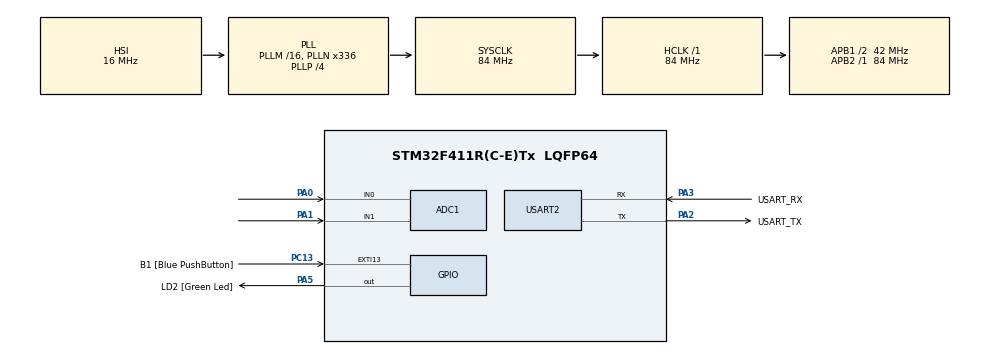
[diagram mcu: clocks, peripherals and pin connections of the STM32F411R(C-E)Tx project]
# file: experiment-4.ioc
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ADC1.Channel-0\#ChannelRegularConversion=ADC_CHANNEL_0
ADC1.Channel-1\#ChannelRegularConversion=ADC_CHANNEL_1
ADC1.ContinuousConvMode=ENABLE
ADC1.DMAContinuousRequests=ENABLE
ADC1.NbrOfConversion=2
ADC1.NbrOfConversionFlag=1
ADC1.Rank-0\#ChannelRegularConversion=1
ADC1.Rank-1\#ChannelRegularConversion=2
ADC1.SamplingTime-0\#ChannelRegularConversion=ADC_SAMPLETIME_28CYCLES
ADC1.SamplingTime-1\#ChannelRegularConversion=ADC_SAMPLETIME_28CYCLES
ADC1.ScanConvMode=ENABLE
ADC1.master=1
Dma.ADC1.0.Direction=DMA_PERIPH_TO_MEMORY
Dma.ADC1.0.FIFOMode=DMA_FIFOMODE_DISABLE
Dma.ADC1.0.Instance=DMA2_Stream0
Dma.ADC1.0.MemDataAlignment=DMA_MDATAALIGN_WORD
Dma.ADC1.0.MemInc=DMA_MINC_ENABLE
Dma.ADC1.0.Mode=DMA_CIRCULAR
Dma.ADC1.0.PeriphDataAlignment=DMA_PDATAALIGN_WORD
Dma.ADC1.0.PeriphInc=DMA_PINC_DISABLE
Dma.ADC1.0.Priority=DMA_PRIORITY_LOW
Dma.Request0=ADC1
Mcu.Family=STM32F4
Mcu.Name=STM32F411R(C-E)Tx
Mcu.Package=LQFP64
NVIC.DMA2_Stream0_IRQn=true\:0\:0\:false\:false\:true\:false\:true
NVIC.EXTI15_10_IRQn=true\:0\:0\:false\:false\:true\:true\:true
NVIC.PriorityGroup=NVIC_PRIORITYGROUP_0
PA0-WKUP.Signal=ADCx_IN0
PA1.Signal=ADCx_IN1
PA13.GPIO_Label=TMS
PA13.Mode=Serial_Wire
PA13.Signal=SYS_JTMS-SWDIO
PA14.GPIO_Label=TCK
PA14.Mode=Serial_Wire
PA14.Signal=SYS_JTCK-SWCLK
PA2.GPIO_Label=USART_TX
PA2.Mode=Asynchronous
PA2.Signal=USART2_TX
PA3.GPIO_Label=USART_RX
PA3.Mode=Asynchronous
PA3.Signal=USART2_RX
PA5.GPIO_Label=LD2 [Green Led]
PA5.Signal=GPIO_Output
PB3.GPIO_Label=SWO
PB3.Signal=SYS_JTDO-SWO
PC13-ANTI_TAMP.GPIO_Label=B1 [Blue PushButton]
PC13-ANTI_TAMP.GPIO_ModeDefaultEXTI=GPIO_MODE_IT_RISING_FALLING
PC13-ANTI_TAMP.GPIO_PuPd=GPIO_PULLUP
PC13-ANTI_TAMP.Signal=GPXTI13
PC14-OSC32_IN.Mode=LSE-External-Oscillator
PC14-OSC32_IN.Signal=RCC_OSC32_IN
PC15-OSC32_OUT.Mode=LSE-External-Oscillator
PC15-OSC32_OUT.Signal=RCC_OSC32_OUT
PH0\ -\ OSC_IN.Mode=HSE-External-Clock-Source
PH0\ -\ OSC_IN.Signal=RCC_OSC_IN
PH1\ -\ OSC_OUT.Mode=HSE-External-Clock-Source
PH1\ -\ OSC_OUT.Signal=RCC_OSC_OUT
ProjectManager.HeapSize=0x200
ProjectManager.StackSize=0x400
ProjectManager.TargetToolchain=STM32CubeIDE
RCC.48MHZClocksFreq_Value=84000000
RCC.AHBFreq_Value=84000000
RCC.APB1CLKDivider=RCC_HCLK_DIV2
RCC.APB1Freq_Value=42000000
RCC.APB1TimFreq_Value=84000000
RCC.APB2Freq_Value=84000000
RCC.APB2TimFreq_Value=84000000
RCC.CortexFreq_Value=84000000
RCC.FLatency-AdvancedSettings=FLASH_LATENCY_2
RCC.HCLKFreq_Value=84000000
RCC.HSE_VALUE=8000000
RCC.HSI_VALUE=16000000
RCC.PLLN=336
RCC.PLLP=RCC_PLLP_DIV4
RCC.SYSCLKFreq_VALUE=84000000
RCC.SYSCLKSource=RCC_SYSCLKSOURCE_PLLCLK
RCC.VCOOutputFreq_Value=336000000
SH.ADCx_IN0.0=ADC1_IN0,IN0
SH.ADCx_IN1.0=ADC1_IN1,IN1
USART2.VirtualMode=VM_ASYNC
board=NUCLEO-F411RE

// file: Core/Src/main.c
/* USER CODE BEGIN Header */
/**
  ******************************************************************************
  * @file           : main.c
  * @brief          : Main program body
  ******************************************************************************
  * @attention
  *
  * Copyright (c) 2022 STMicroelectronics.
  * All rights reserved.
  *
  * This software is licensed under terms that can be found in the LICENSE file
  * in the root directory of this software component.
  * If no LICENSE file comes with this software, it is provided AS-IS.
  *
  ******************************************************************************
  */
/* USER CODE END Header */
#include "main.h"

ADC_HandleTypeDef hadc1;
DMA_HandleTypeDef hdma_adc1;

UART_HandleTypeDef huart2;

/* USER CODE BEGIN PV */
uint32_t ADCData[2]={0};
static int check = 0;
static uint32_t time = 0;
static uint32_t timeresult = 0;
static uint32_t timerise = 0;
/* USER CODE END PV */

void SystemClock_Config(void);
static void MX_GPIO_Init(void);
static void MX_USART2_UART_Init(void);
static void MX_DMA_Init(void);
static void MX_ADC1_Init(void);

int main(void)
{

  /* MCU Configuration--------------------------------------------------------*/

  /* Reset of all peripherals, Initializes the Flash interface and the Systick. */
  HAL_Init();

  /* Configure the system clock */
  SystemClock_Config();

  /* Initialize all configured peripherals */
  MX_GPIO_Init();
  MX_USART2_UART_Init();
  MX_DMA_Init();
  MX_ADC1_Init();
  /* USER CODE BEGIN 2 */
  HAL_ADC_Start_DMA(&hadc1, ADCData, 2);
  HAL_GPIO_WritePin(LD2_GPIO_Port, LD2_Pin, SET);
  /* USER CODE END 2 */

  /* Infinite loop */
  while (1)
  {

  }
}

void SystemClock_Config(void)
{
  RCC_OscInitTypeDef RCC_OscInitStruct = {0};
  RCC_ClkInitTypeDef RCC_ClkInitStruct = {0};

  /** Configure the main internal regulator output voltage
  */
  __HAL_RCC_PWR_CLK_ENABLE();
  __HAL_PWR_VOLTAGESCALING_CONFIG(PWR_REGULATOR_VOLTAGE_SCALE1);
  /** Initializes the RCC Oscillators according to the specified parameters
  * in the RCC_OscInitTypeDef structure.
  */
  RCC_OscInitStruct.OscillatorType = RCC_OSCILLATORTYPE_HSI;
  RCC_OscInitStruct.HSIState = RCC_HSI_ON;
  RCC_OscInitStruct.HSICalibrationValue = RCC_HSICALIBRATION_DEFAULT;
  RCC_OscInitStruct.PLL.PLLState = RCC_PLL_ON;
  RCC_OscInitStruct.PLL.PLLSource = RCC_PLLSOURCE_HSI;
  RCC_OscInitStruct.PLL.PLLM = 16;
  RCC_OscInitStruct.PLL.PLLN = 336;
  RCC_OscInitStruct.PLL.PLLP = RCC_PLLP_DIV4;
  RCC_OscInitStruct.PLL.PLLQ = 4;
  if (HAL_RCC_OscConfig(&RCC_OscInitStruct) != HAL_OK)
  {
    Error_Handler();
  }
  /** Initializes the CPU, AHB and APB buses clocks
  */
  RCC_ClkInitStruct.ClockType = RCC_CLOCKTYPE_HCLK|RCC_CLOCKTYPE_SYSCLK
                              |RCC_CLOCKTYPE_PCLK1|RCC_CLOCKTYPE_PCLK2;
  RCC_ClkInitStruct.SYSCLKSource = RCC_SYSCLKSOURCE_PLLCLK;
  RCC_ClkInitStruct.AHBCLKDivider = RCC_SYSCLK_DIV1;
  RCC_ClkInitStruct.APB1CLKDivider = RCC_HCLK_DIV2;
  RCC_ClkInitStruct.APB2CLKDivider = RCC_HCLK_DIV1;

  if (HAL_RCC_ClockConfig(&RCC_ClkInitStruct, FLASH_LATENCY_2) != HAL_OK)
  {
    Error_Handler();
  }
}

static void MX_ADC1_Init(void)
{

  ADC_ChannelConfTypeDef sConfig = {0};

  /** Configure the global features of the ADC (Clock, Resolution, Data Alignment and number of conversion)
  */
  hadc1.Instance = ADC1;
  hadc1.Init.ClockPrescaler = ADC_CLOCK_SYNC_PCLK_DIV4;
  hadc1.Init.Resolution = ADC_RESOLUTION_12B;
  hadc1.Init.ScanConvMode = ENABLE;
  hadc1.Init.ContinuousConvMode = ENABLE;
  hadc1.Init.DiscontinuousConvMode = DISABLE;
  hadc1.Init.ExternalTrigConvEdge = ADC_EXTERNALTRIGCONVEDGE_NONE;
  hadc1.Init.ExternalTrigConv = ADC_SOFTWARE_START;
  hadc1.Init.DataAlign = ADC_DATAALIGN_RIGHT;
  hadc1.Init.NbrOfConversion = 2;
  hadc1.Init.DMAContinuousRequests = ENABLE;
  hadc1.Init.EOCSelection = ADC_EOC_SINGLE_CONV;
  if (HAL_ADC_Init(&hadc1) != HAL_OK)
  {
    Error_Handler();
  }
  /** Configure for the selected ADC regular channel its corresponding rank in the sequencer and its sample time.
  */
  sConfig.Channel = ADC_CHANNEL_0;
  sConfig.Rank = 1;
  sConfig.SamplingTime = ADC_SAMPLETIME_28CYCLES;
  if (HAL_ADC_ConfigChannel(&hadc1, &sConfig) != HAL_OK)
  {
    Error_Handler();
  }
  /** Configure for the selected ADC regular channel its corresponding rank in the sequencer and its sample time.
  */
  sConfig.Channel = ADC_CHANNEL_1;
  sConfig.Rank = 2;
  if (HAL_ADC_ConfigChannel(&hadc1, &sConfig) != HAL_OK)
  {
    Error_Handler();
  }

}

static void MX_USART2_UART_Init(void)
{

  huart2.Instance = USART2;
  huart2.Init.BaudRate = 115200;
  huart2.Init.WordLength = UART_WORDLENGTH_8B;
  huart2.Init.StopBits = UART_STOPBITS_1;
  huart2.Init.Parity = UART_PARITY_NONE;
  huart2.Init.Mode = UART_MODE_TX_RX;
  huart2.Init.HwFlowCtl = UART_HWCONTROL_NONE;
  huart2.Init.OverSampling = UART_OVERSAMPLING_16;
  if (HAL_UART_Init(&huart2) != HAL_OK)
  {
    Error_Handler();
  }

}

static void MX_DMA_Init(void)
{

  /* DMA controller clock enable */
  __HAL_RCC_DMA2_CLK_ENABLE();

  /* DMA interrupt init */
  /* DMA2_Stream0_IRQn interrupt configuration */
  HAL_NVIC_SetPriority(DMA2_Stream0_IRQn, 0, 0);
  HAL_NVIC_EnableIRQ(DMA2_Stream0_IRQn);

}

static void MX_GPIO_Init(void)
{
  GPIO_InitTypeDef GPIO_InitStruct = {0};

  /* GPIO Ports Clock Enable */
  __HAL_RCC_GPIOC_CLK_ENABLE();
  __HAL_RCC_GPIOH_CLK_ENABLE();
  __HAL_RCC_GPIOA_CLK_ENABLE();
  __HAL_RCC_GPIOB_CLK_ENABLE();

  /*Configure GPIO pin Output Level */
  HAL_GPIO_WritePin(LD2_GPIO_Port, LD2_Pin, GPIO_PIN_RESET);

  /*Configure GPIO pin : B1_Pin */
  GPIO_InitStruct.Pin = B1_Pin;
  GPIO_InitStruct.Mode = GPIO_MODE_IT_RISING_FALLING;
  GPIO_InitStruct.Pull = GPIO_PULLUP;
  HAL_GPIO_Init(B1_GPIO_Port, &GPIO_InitStruct);

  /*Configure GPIO pin : LD2_Pin */
  GPIO_InitStruct.Pin = LD2_Pin;
  GPIO_InitStruct.Mode = GPIO_MODE_OUTPUT_PP;
  GPIO_InitStruct.Pull = GPIO_NOPULL;
  GPIO_InitStruct.Speed = GPIO_SPEED_FREQ_LOW;
  HAL_GPIO_Init(LD2_GPIO_Port, &GPIO_InitStruct);

  /* EXTI interrupt init*/
  HAL_NVIC_SetPriority(EXTI15_10_IRQn, 0, 0);
  HAL_NVIC_EnableIRQ(EXTI15_10_IRQn);

}

/* USER CODE BEGIN 4 */
void HAL_GPIO_EXTI_Callback(uint16_t GPIO_Pin){
	switch (check){
		case 0:
			if(GPIO_Pin == GPIO_PIN_13){
				HAL_GPIO_WritePin(LD2_GPIO_Port, LD2_Pin, RESET);
				time = HAL_GetTick();
				timerise = 1000+((22695477*ADCData[0])+ADCData[1])%10000;
				check = 1;
				}
		break;
		case 1:
			if(GPIO_Pin == GPIO_PIN_13){
				timeresult = HAL_GetTick()-time;
				check = 0;
			}

		break;
	}

}
void HAL_ADC_ConvCpltCallback(ADC_HandleTypeDef* hadc){ // god loop
	if(HAL_GetTick() - time > timerise){
		HAL_GPIO_WritePin(LD2_GPIO_Port, LD2_Pin, SET);
	}
}
/* USER CODE END 4 */

void Error_Handler(void)
{
  __disable_irq();
  while (1)
  {
  }
}
